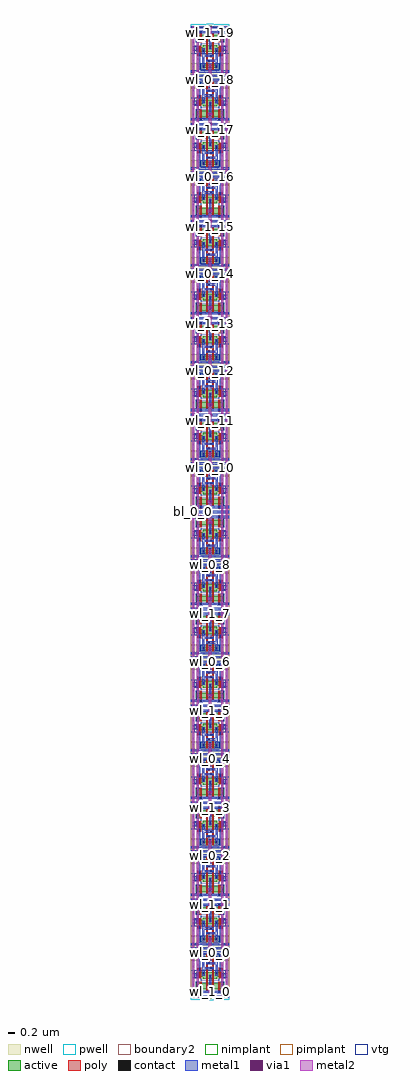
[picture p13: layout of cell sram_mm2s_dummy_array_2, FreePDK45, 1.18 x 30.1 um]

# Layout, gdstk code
import gdstk
lib = gdstk.Library(unit=1e-6, precision=5e-10)
def R(c, l, rs):  # rectangles x0, y0, x1, y1
    for r in rs: c.add(gdstk.rectangle(r[:2], r[2:], *l))
def A(c, l, x, y, w, h, nx, ny, dx, dy):  # array of equal rectangles
    R(c, l, [(x+i*dx, y+j*dy, x+i*dx+w, y+j*dy+h) for i in range(nx) for j in range(ny)])
active = (1, 0)
pwell = (2, 0)
nwell = (3, 0)
nimplant = (4, 0)
pimplant = (5, 0)
vtg = (6, 0)
poly = (9, 0)
contact = (10, 0)
metal1 = (11, 0)
via1 = (12, 0)
metal2 = (13, 0)
boundary2 = (239, 0)

dummy_cell_2rw = lib.new_cell('dummy_cell_2rw')
R(dummy_cell_2rw, active, [(0.545,-0.045,0.635,0.045), (0.165,0.2325,0.22,0.4125), (0.2075,0.2325,0.2775,0.4125), (0.2075,0.2325,0.3975,0.4125), (0.3275,0.2325,0.3975,0.4125), (0.3975,0.2325,0.4675,0.4125), (0.3975,0.2325,0.5875,0.4125), (0.5175,0.2325,0.5875,0.4125), (0.5525,0.2325,0.6275,0.4125), (0.5525,0.2325,0.6275,0.4125), (0.5525,0.2325,0.7775,0.4125), (0.7075,0.2325,0.7775,0.4125), (0.7775,0.2325,0.8475,0.4125), (0.7775,0.2325,0.9675,0.4125), (0.8975,0.2325,0.9675,0.4125), (0.955,0.2325,1.01,0.4125), (0.165,0.2775,0.255,0.3675), (0.92,0.2775,1.01,0.3675), (0.5525,0.2875,0.6275,0.3625), (0.3625,0.5525,0.4375,0.7575), (0.3625,0.5525,0.4375,0.7575), (0.3625,0.5525,0.5875,0.7575), (0.5175,0.5525,0.5875,0.7575), (0.5875,0.5525,0.6575,0.7575), (0.5875,0.5525,0.8125,0.7575), (0.7375,0.5525,0.8125,0.7575), (0.7375,0.5525,0.8125,0.7575), (0.545,0.5725,0.635,0.6625), (0.1575,0.6225,0.2325,0.6975), (0.1575,0.6225,0.2325,0.7575), (0.1575,0.6225,0.2325,0.7575), (0.1575,0.6225,0.3825,0.7575), (0.3125,0.6225,0.3825,0.7575), (0.7925,0.6225,0.8625,0.7575), (0.7925,0.6225,1.0175,0.7575), (0.9425,0.6225,1.0175,0.6975), (0.9425,0.6225,1.0175,0.7575), (0.9425,0.6225,1.0175,0.7575), (0.3625,0.6825,0.4375,0.7575), (0.7375,0.6825,0.8125,0.7575), (0.3625,1.1625,0.4375,1.2375), (0.3625,1.1625,0.4375,1.2525), (0.3625,1.1625,0.4375,1.2525), (0.3625,1.1625,0.6225,1.2525), (0.5475,1.1625,0.6225,1.2375), (0.5475,1.1625,0.6225,1.2525), (0.5475,1.1625,0.6225,1.2525), (0.5875,1.1625,0.6575,1.2525), (0.5875,1.1625,0.8125,1.2525), (0.7375,1.1625,0.8125,1.2375), (0.7375,1.1625,0.8125,1.2525), (0.7375,1.1625,0.8125,1.2525), (0.54,1.45,0.63,1.54)])
R(dummy_cell_2rw, pwell, [(0.49,-0.1,0.69,0.1), (0,-0.085,1.175,0.8125), (0.1525,0.1775,0.4525,0.4675), (0.3425,0.1775,0.6425,0.4675), (0.4975,0.1775,0.8325,0.4675), (0.7225,0.1775,1.0225,0.4675), (0.3075,0.4975,0.6425,0.8125), (0.5325,0.4975,0.8675,0.8125), (0.1025,0.5675,0.4375,0.8125), (0.7375,0.5675,1.0725,0.8125)])
R(dummy_cell_2rw, nwell, [(0,1.1075,1.175,1.595), (0.3075,1.1075,0.6775,1.3075), (0.5325,1.1075,0.8675,1.3075), (0.485,1.395,0.685,1.595)])
R(dummy_cell_2rw, nimplant, [(0.165,0.2325,0.22,0.4125), (0.2075,0.2325,0.3975,0.4125), (0.3975,0.2325,0.5875,0.4125), (0.5525,0.2325,0.7775,0.4125), (0.7775,0.2325,0.9675,0.4125), (0.955,0.2325,1.01,0.4125), (0.165,0.2775,0.255,0.3675), (0.92,0.2775,1.01,0.3675), (0.3625,0.5525,0.5875,0.7575), (0.5875,0.5525,0.8125,0.7575), (0.545,0.5725,0.635,0.6625), (0.1575,0.6225,0.3825,0.7575), (0.7925,0.6225,1.0175,0.7575), (0.54,1.45,0.63,1.54)])
R(dummy_cell_2rw, pimplant, [(0.545,-0.045,0.635,0.045), (0.3625,1.1625,0.6225,1.2525), (0.5875,1.1625,0.8125,1.2525)])
R(dummy_cell_2rw, vtg, [(0.1525,0.1775,0.4525,0.4675), (0.3425,0.1775,0.6425,0.4675), (0.4975,0.1775,0.8325,0.4675), (0.7225,0.1775,1.0225,0.4675), (0.3075,0.4975,0.6425,0.8125), (0.5325,0.4975,0.8675,0.8125), (0.1025,0.5675,0.4375,0.8125), (0.7375,0.5675,1.0725,0.8125), (0.3075,1.1075,0.6775,1.3075), (0.5325,1.1075,0.8675,1.3075)])
A(dummy_cell_2rw, poly, 0.2775, 0.1775, 0.05, 0.055, 4, 2, 0.19, 0.235)
A(dummy_cell_2rw, poly, 0.2775, 0.1775, 0.05, 0.29, 4, 1, 0.19, 0)
R(dummy_cell_2rw, poly, [(0.265,0.1075,0.34,0.1825), (0.835,0.1075,0.91,0.1825), (0.6575,0.44,0.7075,0.525), (0.4675,0.45,0.5175,0.525), (0.4675,0.4975,0.5175,0.8125), (0.4675,0.4975,0.5175,0.5525), (0.6575,0.4975,0.7075,0.8125), (0.6575,0.4975,0.7075,0.5525), (0.2625,0.5675,0.3125,0.6225), (0.2625,0.5675,0.3125,0.8125), (0.8625,0.5675,0.9125,0.6225), (0.8625,0.5675,0.9125,0.8125), (0.4675,0.7225,0.5175,1.135), (0.6575,0.7225,0.7075,1.135), (0.2625,0.7575,0.3125,0.8125), (0.4675,0.7575,0.5175,0.8125), (0.6575,0.7575,0.7075,0.8125), (0.8625,0.7575,0.9125,0.8125), (0.2625,0.8,0.3125,0.8975), (0.8625,0.8,0.9125,0.8975), (0.2125,0.8225,0.2875,0.8975), (0.8875,0.8225,0.9625,0.8975), (0.5925,0.8475,0.6675,0.9225), (0.5075,0.9975,0.5825,1.0725), (0.4675,1.1075,0.5175,1.1625), (0.4675,1.1075,0.5175,1.3075), (0.6575,1.1075,0.7075,1.1625), (0.6575,1.1075,0.7075,1.3075), (0.4675,1.2525,0.5175,1.3075), (0.6575,1.2525,0.7075,1.3075)])
R(dummy_cell_2rw, contact, [(0.5575,-0.0325,0.6225,0.0325), (0.27,0.1125,0.335,0.1775), (0.84,0.1125,0.905,0.1775), (0.1775,0.29,0.2425,0.355), (0.9325,0.29,0.9975,0.355), (0.5575,0.2925,0.6225,0.3575), (0.5575,0.585,0.6225,0.65), (0.1625,0.6275,0.2275,0.6925), (0.9475,0.6275,1.0125,0.6925), (0.3675,0.6875,0.4325,0.7525), (0.7425,0.6875,0.8075,0.7525), (0.2175,0.8275,0.2825,0.8925), (0.8925,0.8275,0.9575,0.8925), (0.5975,0.8525,0.6625,0.9175), (0.5125,1.0025,0.5775,1.0675), (0.3675,1.1675,0.4325,1.2325), (0.5525,1.1675,0.6175,1.2325), (0.7425,1.1675,0.8075,1.2325), (0.5525,1.4625,0.6175,1.5275)])
R(dummy_cell_2rw, metal1, [(0,-0.0325,1.175,0.0325), (0,-0.0325,1.175,0.0325), (0.235,0.1125,0.37,0.1775), (0.805,0.1125,0.94,0.1775), (0,0.1225,1.175,0.1875), (0,0.1225,1.175,0.1875), (0.1775,0.255,0.2425,0.39), (0.1775,0.255,0.2425,0.39), (0.9325,0.255,0.9975,0.39), (0.9325,0.255,0.9975,0.39), (0.5575,0.2575,0.6225,0.615), (0.5575,0.55,0.6225,0.685), (0.0375,0.5925,0.1025,0.7275), (0.0375,0.5925,0.2275,0.7275), (0.1625,0.5925,0.2275,0.7275), (0.9475,0.5925,1.0125,0.7275), (0.9475,0.5925,1.1375,0.7275), (1.0725,0.5925,1.1375,0.7275), (0.3475,0.6525,0.4125,1.2675), (0.3675,0.6525,0.4325,0.7875), (0.7425,0.6525,0.8075,0.7875), (0.7625,0.6525,0.8275,1.2675), (0.2175,0.7925,0.2825,0.9275), (0.8925,0.7925,0.9575,0.9275), (0.3675,0.8525,0.5825,0.9175), (0.5625,0.8525,0.6975,0.9175), (0.2175,0.895,0.2825,1.385), (0.8925,0.895,0.9575,1.385), (0.4775,1.0025,0.6125,1.0675), (0.5925,1.0025,0.8275,1.0675), (0.3675,1.1325,0.4325,1.2675), (0.5525,1.1325,0.6175,1.2675), (0.5525,1.1325,0.6175,1.2675), (0.7425,1.1325,0.8075,1.2675), (0,1.3325,1.175,1.3975), (0,1.3325,1.175,1.3975), (0,1.4625,1.175,1.5275), (0,1.4625,1.175,1.5275)])
R(dummy_cell_2rw, via1, [(0.5575,-0.0325,0.6225,0.0325), (0.5575,0.2925,0.6225,0.3575), (0.5525,1.1675,0.6175,1.2325), (0.5525,1.4625,0.6175,1.5275)])
R(dummy_cell_2rw, metal2, [(0.5225,-0.035,0.6575,0.035), (0.035,-0.015,0.105,1.56), (0.035,-0.015,0.105,1.56), (0.175,-0.015,0.245,1.56), (0.175,-0.015,0.245,1.56), (0.93,-0.015,1,1.56), (0.93,-0.015,1,1.56), (1.07,-0.015,1.14,1.56), (1.07,-0.015,1.14,1.56), (0.555,0.005,0.625,0.29), (0.175,0.255,0.245,0.39), (0.93,0.255,1,0.39), (0.5225,0.29,0.6575,0.36), (0.035,0.5925,0.105,0.7275), (1.07,0.5925,1.14,0.7275), (0.55,1.1325,0.62,1.2675), (1.0875,1.1375,1.1325,1.1725), (0.9525,1.145,0.985,1.175), (0.1925,1.155,0.23,1.18), (0.0475,1.1575,0.09,1.185), (0.55,1.1575,0.62,1.5275), (0.5175,1.46,0.6525,1.53)])
R(dummy_cell_2rw, boundary2, [(0,0,1.175,1.495)])
dummy_cell_2rw.add(gdstk.Label('gnd', (0.59,0), layer=11, texttype=0))
dummy_cell_2rw.add(gdstk.Label('wl1', (0.14,0.1625), layer=11, texttype=0))
dummy_cell_2rw.add(gdstk.Label('vdd', (0.585,1.495), layer=11, texttype=0))
dummy_cell_2rw.add(gdstk.Label('wl0', (0.14,1.355), layer=11, texttype=0))
dummy_cell_2rw.add(gdstk.Label('br0', (1.1075,1.1575), layer=13, texttype=0))
dummy_cell_2rw.add(gdstk.Label('br1', (0.9675,1.1625), layer=13, texttype=0))
dummy_cell_2rw.add(gdstk.Label('bl1', (0.205,1.1725), layer=13, texttype=0))
dummy_cell_2rw.add(gdstk.Label('bl0', (0.07,1.1725), layer=13, texttype=0))
dummy_cell_2rw.add(gdstk.Label('bl0', (0.07,0.7725), layer=13, texttype=0))
dummy_cell_2rw.add(gdstk.Label('br0', (1.105,0.7725), layer=13, texttype=0))
dummy_cell_2rw.add(gdstk.Label('bl1', (0.21,0.7725), layer=13, texttype=0))
dummy_cell_2rw.add(gdstk.Label('br1', (0.965,0.7725), layer=13, texttype=0))
dummy_cell_2rw.add(gdstk.Label('wl0', (0.5875,1.365), layer=11, texttype=0))
dummy_cell_2rw.add(gdstk.Label('wl1', (0.5875,0.155), layer=11, texttype=0))
dummy_cell_2rw.add(gdstk.Label('vdd', (0.5875,1.495), layer=11, texttype=0))
dummy_cell_2rw.add(gdstk.Label('gnd', (0.5875,0), layer=11, texttype=0))

sram_mm2s_dummy_array_2 = lib.new_cell('sram_mm2s_dummy_array_2')
A(sram_mm2s_dummy_array_2, metal1, 0, 1.3325, 1.175, 0.065, 1, 3, 0, 0.13)
A(sram_mm2s_dummy_array_2, metal1, 0, 2.8025, 1.175, 0.065, 1, 3, 0, 0.155)
A(sram_mm2s_dummy_array_2, metal1, 0, 4.3225, 1.175, 0.065, 1, 3, 0, 0.13)
A(sram_mm2s_dummy_array_2, metal1, 0, 5.7925, 1.175, 0.065, 1, 3, 0, 0.155)
A(sram_mm2s_dummy_array_2, metal1, 0, 7.3125, 1.175, 0.065, 1, 3, 0, 0.13)
A(sram_mm2s_dummy_array_2, metal1, 0, 8.7825, 1.175, 0.065, 1, 3, 0, 0.155)
A(sram_mm2s_dummy_array_2, metal1, 0, 10.3025, 1.175, 0.065, 1, 3, 0, 0.13)
A(sram_mm2s_dummy_array_2, metal1, 0, 11.7725, 1.175, 0.065, 1, 3, 0, 0.155)
A(sram_mm2s_dummy_array_2, metal1, 0, 13.2925, 1.175, 0.065, 1, 3, 0, 0.13)
A(sram_mm2s_dummy_array_2, metal1, 0, 14.7625, 1.175, 0.065, 1, 3, 0, 0.155)
A(sram_mm2s_dummy_array_2, metal1, 0, 16.2825, 1.175, 0.065, 1, 3, 0, 0.13)
A(sram_mm2s_dummy_array_2, metal1, 0, 17.7525, 1.175, 0.065, 1, 3, 0, 0.155)
A(sram_mm2s_dummy_array_2, metal1, 0, 19.2725, 1.175, 0.065, 1, 3, 0, 0.13)
A(sram_mm2s_dummy_array_2, metal1, 0, 20.7425, 1.175, 0.065, 1, 3, 0, 0.155)
A(sram_mm2s_dummy_array_2, metal1, 0, 22.2625, 1.175, 0.065, 1, 3, 0, 0.13)
A(sram_mm2s_dummy_array_2, metal1, 0, 23.7325, 1.175, 0.065, 1, 3, 0, 0.155)
A(sram_mm2s_dummy_array_2, metal1, 0, 25.2525, 1.175, 0.065, 1, 3, 0, 0.13)
A(sram_mm2s_dummy_array_2, metal1, 0, 26.7225, 1.175, 0.065, 1, 3, 0, 0.155)
A(sram_mm2s_dummy_array_2, metal1, 0, 28.2425, 1.175, 0.065, 1, 3, 0, 0.13)
R(sram_mm2s_dummy_array_2, metal1, [(0,-0.0325,1.175,0.0325), (0,0.1225,1.175,0.1875), (0,29.7125,1.175,29.7775), (0,29.8675,1.175,29.9325)])
R(sram_mm2s_dummy_array_2, metal2, [(0.035,0,0.105,29.9), (0.175,0,0.245,29.9), (0.93,0,1,29.9), (1.07,0,1.14,29.9)])
R(sram_mm2s_dummy_array_2, boundary2, [(0,0,1.175,29.9)])
sram_mm2s_dummy_array_2.add(gdstk.Reference(dummy_cell_2rw, (0,0)))
sram_mm2s_dummy_array_2.add(gdstk.Reference(dummy_cell_2rw, (0,2.99), x_reflection=True))
sram_mm2s_dummy_array_2.add(gdstk.Reference(dummy_cell_2rw, (0,2.99)))
sram_mm2s_dummy_array_2.add(gdstk.Reference(dummy_cell_2rw, (0,5.98), x_reflection=True))
sram_mm2s_dummy_array_2.add(gdstk.Reference(dummy_cell_2rw, (0,5.98)))
sram_mm2s_dummy_array_2.add(gdstk.Reference(dummy_cell_2rw, (0,8.97), x_reflection=True))
sram_mm2s_dummy_array_2.add(gdstk.Reference(dummy_cell_2rw, (0,8.97)))
sram_mm2s_dummy_array_2.add(gdstk.Reference(dummy_cell_2rw, (0,11.96), x_reflection=True))
sram_mm2s_dummy_array_2.add(gdstk.Reference(dummy_cell_2rw, (0,11.96)))
sram_mm2s_dummy_array_2.add(gdstk.Reference(dummy_cell_2rw, (0,14.95), x_reflection=True))
sram_mm2s_dummy_array_2.add(gdstk.Reference(dummy_cell_2rw, (0,14.95)))
sram_mm2s_dummy_array_2.add(gdstk.Reference(dummy_cell_2rw, (0,17.94), x_reflection=True))
sram_mm2s_dummy_array_2.add(gdstk.Reference(dummy_cell_2rw, (0,17.94)))
sram_mm2s_dummy_array_2.add(gdstk.Reference(dummy_cell_2rw, (0,20.93), x_reflection=True))
sram_mm2s_dummy_array_2.add(gdstk.Reference(dummy_cell_2rw, (0,20.93)))
sram_mm2s_dummy_array_2.add(gdstk.Reference(dummy_cell_2rw, (0,23.92), x_reflection=True))
sram_mm2s_dummy_array_2.add(gdstk.Reference(dummy_cell_2rw, (0,23.92)))
sram_mm2s_dummy_array_2.add(gdstk.Reference(dummy_cell_2rw, (0,26.91), x_reflection=True))
sram_mm2s_dummy_array_2.add(gdstk.Reference(dummy_cell_2rw, (0,26.91)))
sram_mm2s_dummy_array_2.add(gdstk.Reference(dummy_cell_2rw, (0,29.9), x_reflection=True))
sram_mm2s_dummy_array_2.add(gdstk.Label('bl_0_0', (0.07,14.95), layer=13, texttype=0))
sram_mm2s_dummy_array_2.add(gdstk.Label('br_0_0', (1.105,14.95), layer=13, texttype=0))
sram_mm2s_dummy_array_2.add(gdstk.Label('bl_1_0', (0.21,14.95), layer=13, texttype=0))
sram_mm2s_dummy_array_2.add(gdstk.Label('br_1_0', (0.965,14.95), layer=13, texttype=0))
sram_mm2s_dummy_array_2.add(gdstk.Label('wl_0_0', (0.5875,1.365), layer=11, texttype=0))
sram_mm2s_dummy_array_2.add(gdstk.Label('wl_1_0', (0.5875,0.155), layer=11, texttype=0))
sram_mm2s_dummy_array_2.add(gdstk.Label('wl_0_1', (0.5875,1.625), layer=11, texttype=0))
sram_mm2s_dummy_array_2.add(gdstk.Label('wl_1_1', (0.5875,2.835), layer=11, texttype=0))
sram_mm2s_dummy_array_2.add(gdstk.Label('wl_0_2', (0.5875,4.355), layer=11, texttype=0))
sram_mm2s_dummy_array_2.add(gdstk.Label('wl_1_2', (0.5875,3.145), layer=11, texttype=0))
sram_mm2s_dummy_array_2.add(gdstk.Label('wl_0_3', (0.5875,4.615), layer=11, texttype=0))
sram_mm2s_dummy_array_2.add(gdstk.Label('wl_1_3', (0.5875,5.825), layer=11, texttype=0))
sram_mm2s_dummy_array_2.add(gdstk.Label('wl_0_4', (0.5875,7.345), layer=11, texttype=0))
sram_mm2s_dummy_array_2.add(gdstk.Label('wl_1_4', (0.5875,6.135), layer=11, texttype=0))
sram_mm2s_dummy_array_2.add(gdstk.Label('wl_0_5', (0.5875,7.605), layer=11, texttype=0))
sram_mm2s_dummy_array_2.add(gdstk.Label('wl_1_5', (0.5875,8.815), layer=11, texttype=0))
sram_mm2s_dummy_array_2.add(gdstk.Label('wl_0_6', (0.5875,10.335), layer=11, texttype=0))
sram_mm2s_dummy_array_2.add(gdstk.Label('wl_1_6', (0.5875,9.125), layer=11, texttype=0))
sram_mm2s_dummy_array_2.add(gdstk.Label('wl_0_7', (0.5875,10.595), layer=11, texttype=0))
sram_mm2s_dummy_array_2.add(gdstk.Label('wl_1_7', (0.5875,11.805), layer=11, texttype=0))
sram_mm2s_dummy_array_2.add(gdstk.Label('wl_0_8', (0.5875,13.325), layer=11, texttype=0))
sram_mm2s_dummy_array_2.add(gdstk.Label('wl_1_8', (0.5875,12.115), layer=11, texttype=0))
sram_mm2s_dummy_array_2.add(gdstk.Label('wl_0_9', (0.5875,13.585), layer=11, texttype=0))
sram_mm2s_dummy_array_2.add(gdstk.Label('wl_1_9', (0.5875,14.795), layer=11, texttype=0))
sram_mm2s_dummy_array_2.add(gdstk.Label('wl_0_10', (0.5875,16.315), layer=11, texttype=0))
sram_mm2s_dummy_array_2.add(gdstk.Label('wl_1_10', (0.5875,15.105), layer=11, texttype=0))
sram_mm2s_dummy_array_2.add(gdstk.Label('wl_0_11', (0.5875,16.575), layer=11, texttype=0))
sram_mm2s_dummy_array_2.add(gdstk.Label('wl_1_11', (0.5875,17.785), layer=11, texttype=0))
sram_mm2s_dummy_array_2.add(gdstk.Label('wl_0_12', (0.5875,19.305), layer=11, texttype=0))
sram_mm2s_dummy_array_2.add(gdstk.Label('wl_1_12', (0.5875,18.095), layer=11, texttype=0))
sram_mm2s_dummy_array_2.add(gdstk.Label('wl_0_13', (0.5875,19.565), layer=11, texttype=0))
sram_mm2s_dummy_array_2.add(gdstk.Label('wl_1_13', (0.5875,20.775), layer=11, texttype=0))
sram_mm2s_dummy_array_2.add(gdstk.Label('wl_0_14', (0.5875,22.295), layer=11, texttype=0))
sram_mm2s_dummy_array_2.add(gdstk.Label('wl_1_14', (0.5875,21.085), layer=11, texttype=0))
sram_mm2s_dummy_array_2.add(gdstk.Label('wl_0_15', (0.5875,22.555), layer=11, texttype=0))
sram_mm2s_dummy_array_2.add(gdstk.Label('wl_1_15', (0.5875,23.765), layer=11, texttype=0))
sram_mm2s_dummy_array_2.add(gdstk.Label('wl_0_16', (0.5875,25.285), layer=11, texttype=0))
sram_mm2s_dummy_array_2.add(gdstk.Label('wl_1_16', (0.5875,24.075), layer=11, texttype=0))
sram_mm2s_dummy_array_2.add(gdstk.Label('wl_0_17', (0.5875,25.545), layer=11, texttype=0))
sram_mm2s_dummy_array_2.add(gdstk.Label('wl_1_17', (0.5875,26.755), layer=11, texttype=0))
sram_mm2s_dummy_array_2.add(gdstk.Label('wl_0_18', (0.5875,28.275), layer=11, texttype=0))
sram_mm2s_dummy_array_2.add(gdstk.Label('wl_1_18', (0.5875,27.065), layer=11, texttype=0))
sram_mm2s_dummy_array_2.add(gdstk.Label('wl_0_19', (0.5875,28.535), layer=11, texttype=0))
sram_mm2s_dummy_array_2.add(gdstk.Label('wl_1_19', (0.5875,29.745), layer=11, texttype=0))
sram_mm2s_dummy_array_2.add(gdstk.Label('vdd', (0.5875,19.435), layer=11, texttype=0))
sram_mm2s_dummy_array_2.add(gdstk.Label('vdd', (0.5875,7.475), layer=11, texttype=0))
sram_mm2s_dummy_array_2.add(gdstk.Label('vdd', (0.5875,13.455), layer=11, texttype=0))
sram_mm2s_dummy_array_2.add(gdstk.Label('vdd', (0.5875,10.465), layer=11, texttype=0))
sram_mm2s_dummy_array_2.add(gdstk.Label('vdd', (0.5875,4.485), layer=11, texttype=0))
sram_mm2s_dummy_array_2.add(gdstk.Label('vdd', (0.5875,28.405), layer=11, texttype=0))
sram_mm2s_dummy_array_2.add(gdstk.Label('vdd', (0.5875,16.445), layer=11, texttype=0))
sram_mm2s_dummy_array_2.add(gdstk.Label('vdd', (0.5875,22.425), layer=11, texttype=0))
sram_mm2s_dummy_array_2.add(gdstk.Label('vdd', (0.5875,25.415), layer=11, texttype=0))
sram_mm2s_dummy_array_2.add(gdstk.Label('vdd', (0.5875,1.495), layer=11, texttype=0))
sram_mm2s_dummy_array_2.add(gdstk.Label('gnd', (0.5875,17.94), layer=11, texttype=0))
sram_mm2s_dummy_array_2.add(gdstk.Label('gnd', (0.5875,0), layer=11, texttype=0))
sram_mm2s_dummy_array_2.add(gdstk.Label('gnd', (0.5875,29.9), layer=11, texttype=0))
sram_mm2s_dummy_array_2.add(gdstk.Label('gnd', (0.5875,2.99), layer=11, texttype=0))
sram_mm2s_dummy_array_2.add(gdstk.Label('gnd', (0.5875,26.91), layer=11, texttype=0))
sram_mm2s_dummy_array_2.add(gdstk.Label('gnd', (0.5875,5.98), layer=11, texttype=0))
sram_mm2s_dummy_array_2.add(gdstk.Label('gnd', (0.5875,8.97), layer=11, texttype=0))
sram_mm2s_dummy_array_2.add(gdstk.Label('gnd', (0.5875,11.96), layer=11, texttype=0))
sram_mm2s_dummy_array_2.add(gdstk.Label('gnd', (0.5875,14.95), layer=11, texttype=0))
sram_mm2s_dummy_array_2.add(gdstk.Label('gnd', (0.5875,20.93), layer=11, texttype=0))
sram_mm2s_dummy_array_2.add(gdstk.Label('gnd', (0.5875,23.92), layer=11, texttype=0))

lib.write_gds('sram_mm2s_dummy_array_2.gds')
